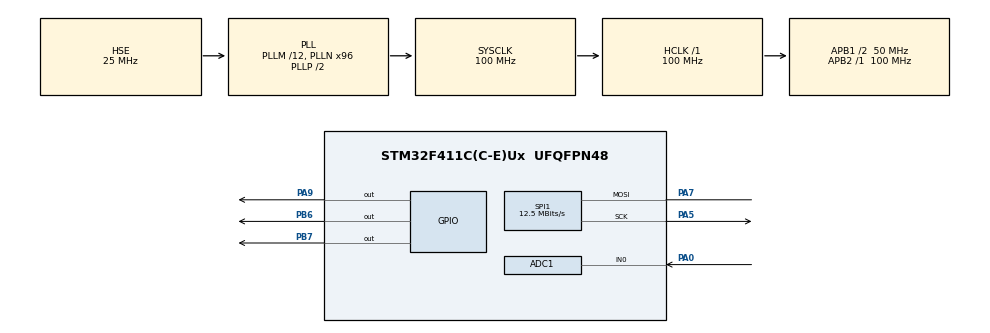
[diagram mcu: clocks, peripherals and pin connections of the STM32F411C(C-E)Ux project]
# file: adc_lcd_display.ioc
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ADC1.Channel-0\#ChannelRegularConversion=ADC_CHANNEL_0
ADC1.DMAContinuousRequests=ENABLE
ADC1.ExternalTrigConv=ADC_EXTERNALTRIGCONV_T2_TRGO
ADC1.InjNumberOfConversion=0
ADC1.NbrOfConversionFlag=1
ADC1.Rank-0\#ChannelRegularConversion=1
ADC1.Resolution=ADC_RESOLUTION_8B
ADC1.SamplingTime-0\#ChannelRegularConversion=ADC_SAMPLETIME_3CYCLES
ADC1.ScanConvMode=ENABLE
ADC1.master=1
Dma.ADC1.0.Direction=DMA_PERIPH_TO_MEMORY
Dma.ADC1.0.FIFOMode=DMA_FIFOMODE_DISABLE
Dma.ADC1.0.Instance=DMA2_Stream0
Dma.ADC1.0.MemDataAlignment=DMA_MDATAALIGN_BYTE
Dma.ADC1.0.MemInc=DMA_MINC_ENABLE
Dma.ADC1.0.Mode=DMA_CIRCULAR
Dma.ADC1.0.PeriphDataAlignment=DMA_PDATAALIGN_BYTE
Dma.ADC1.0.PeriphInc=DMA_PINC_DISABLE
Dma.ADC1.0.Priority=DMA_PRIORITY_LOW
Dma.Request0=ADC1
Mcu.Family=STM32F4
Mcu.Name=STM32F411C(C-E)Ux
Mcu.Package=UFQFPN48
NVIC.DMA2_Stream0_IRQn=true\:0\:0\:false\:false\:true\:false\:true\:true
NVIC.PriorityGroup=NVIC_PRIORITYGROUP_4
PA0-WKUP.Signal=ADCx_IN0
PA13.Mode=Serial_Wire
PA13.Signal=SYS_JTMS-SWDIO
PA14.Mode=Serial_Wire
PA14.Signal=SYS_JTCK-SWCLK
PA5.Mode=Simplex_Bidirectional_Master
PA5.Signal=SPI1_SCK
PA7.Mode=Simplex_Bidirectional_Master
PA7.Signal=SPI1_MOSI
PA9.Signal=GPIO_Output
PB6.Signal=GPIO_Output
PB7.Signal=GPIO_Output
PH0\ -\ OSC_IN.Mode=HSE-External-Oscillator
PH0\ -\ OSC_IN.Signal=RCC_OSC_IN
PH1\ -\ OSC_OUT.Mode=HSE-External-Oscillator
PH1\ -\ OSC_OUT.Signal=RCC_OSC_OUT
ProjectManager.HeapSize=0x200
ProjectManager.StackSize=0x400
ProjectManager.TargetToolchain=MDK-ARM V5
RCC.48MHZClocksFreq_Value=50000000
RCC.AHBFreq_Value=100000000
RCC.APB1CLKDivider=RCC_HCLK_DIV2
RCC.APB1Freq_Value=50000000
RCC.APB1TimFreq_Value=100000000
RCC.APB2Freq_Value=100000000
RCC.APB2TimFreq_Value=100000000
RCC.CortexFreq_Value=100000000
RCC.HCLKFreq_Value=100000000
RCC.HSE_VALUE=25000000
RCC.HSI_VALUE=16000000
RCC.LSE_VALUE=32768
RCC.PLLM=12
RCC.PLLN=96
RCC.PLLSourceVirtual=RCC_PLLSOURCE_HSE
RCC.SYSCLKFreq_VALUE=100000000
RCC.SYSCLKSource=RCC_SYSCLKSOURCE_PLLCLK
RCC.VCOOutputFreq_Value=200000000
SH.ADCx_IN0.0=ADC1_IN0,IN0
SPI1.BaudRatePrescaler=SPI_BAUDRATEPRESCALER_8
SPI1.CalculateBaudRate=12.5 MBits/s
SPI1.Direction=SPI_DIRECTION_1LINE
SPI1.Mode=SPI_MODE_MASTER
SPI1.VirtualType=VM_MASTER
TIM2.Channel-Output\ Compare4\ No\ Output=TIM_CHANNEL_4
TIM2.Period=999
TIM2.Prescaler=0
TIM2.TIM_MasterOutputTrigger=TIM_TRGO_UPDATE
VP_TIM2_VS_ClockSourceINT.Mode=Internal
VP_TIM2_VS_no_output4.Mode=Output Compare4 No Output
board=custom

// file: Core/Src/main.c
/* USER CODE BEGIN Header */
/**
  ******************************************************************************
  * @file           : main.c
  * @brief          : Main program body
  ******************************************************************************
  * @attention
  *
  * Copyright (c) 2022 STMicroelectronics.
  * All rights reserved.
  *
  * This software is licensed under terms that can be found in the LICENSE file
  * in the root directory of this software component.
  * If no LICENSE file comes with this software, it is provided AS-IS.
  *
  ******************************************************************************
  */
/* USER CODE END Header */
#include "main.h"

/* USER CODE BEGIN Includes */
#include "st7735.h"
#include "fonts.h"
/* USER CODE END Includes */

ADC_HandleTypeDef hadc1;
DMA_HandleTypeDef hdma_adc1;

SPI_HandleTypeDef hspi1;

TIM_HandleTypeDef htim2;

void SystemClock_Config(void);
static void MX_GPIO_Init(void);
static void MX_DMA_Init(void);
static void MX_ADC1_Init(void);
static void MX_TIM2_Init(void);
static void MX_SPI1_Init(void);

/* USER CODE BEGIN 0 */
uint32_t value ;
uint16_t Max ;
uint8_t axeX = 0 ;
uint8_t axeY = 0;
uint8_t Yold = 0 ;
uint16_t adc_store[400];
uint16_t axe_store[400];
uint16_t i = 0;
uint16_t t = 0;
uint16_t n = 0;
uint16_t trggr = 80;
uint16_t tr_point ;

void draw_grid(void ) {
	for (uint8_t x = 0 ; x < 110 ; x++){
		   for (uint8_t y = 21 ; y<160 ; y+=21){
			ST7735_DrawPixel( y  , x , 0xFCE0);
	     } }
	for (uint8_t x = 0 ; x < 159 ; x++){
			ST7735_DrawPixel( x  , 25 , 0xFCE0);

	     }
}
/* USER CODE END 0 */

int main(void)
{

  /* MCU Configuration--------------------------------------------------------*/

  /* Reset of all peripherals, Initializes the Flash interface and the Systick. */
  HAL_Init();

  /* Configure the system clock */
  SystemClock_Config();

  /* Initialize all configured peripherals */
  MX_GPIO_Init();
  MX_DMA_Init();
  MX_ADC1_Init();
  MX_TIM2_Init();
  MX_SPI1_Init();
  /* USER CODE BEGIN 2 */
ST7735_Init();

HAL_ADC_Start_DMA(&hadc1 , &value , 1 );
HAL_TIM_Base_Start_IT(&htim2);
HAL_TIM_PWM_Start(&htim2 , TIM_CHANNEL_4);
ST7735_FillScreen(ST7735_BLACK);
ST7735_FillRectangle(0,110,160,18, ST7735_CYAN);
  /* USER CODE END 2 */

  /* Infinite loop */
  while (1)
  {

    /* USER CODE BEGIN 3 */
     for ( t = 0 ; t < 400 ; t++) {
		     axe_store[t] = adc_store[t] ;  // move all buffer to axe
		 }
		 t = 1 ;
		while ((axe_store[t-1] < trggr)||(axe_store[t] >= trggr)) t++ ;

		tr_point = t ;
		//draw the trace
	 t = tr_point ;
	 for ( axeX = 0 ; axeX <160 ; axeX++ ) {
		 axeY = 110 - axe_store [t] * 110 / 255 ;
	  ST7735_DrawPixel( axeX  , axeY  , ST7735_WHITE);
		     if(((axeY - Yold ) < 0 )&&( axeX!=0 )&&( axeX!=159)) {
					 for (n = axeY ; n < Yold ; n++) ST7735_DrawPixel( axeX  , n  , ST7735_WHITE);
				 }
	  else if(((axeY - Yold ) >=2 )&&( axeX!=0 )&&( axeX!=159)) {
					 for (n = Yold ; n < axeY ; n++) ST7735_DrawPixel( axeX  , n  , ST7735_WHITE);
				 }
		Yold = axeY ;
	  t++ ;
		 }
	   HAL_Delay(250);
		//erase the trace
		 t = tr_point ;
		 for ( axeX = 0 ; axeX <160 ; axeX++ ) {
		 axeY = 110 - axe_store [t] * 110 / 255 ;
	  ST7735_DrawPixel( axeX  , axeY  , ST7735_BLACK);
			    if(((axeY - Yold ) < 0 )&&(axeX!=0 )&&( axeX!=159)) {
					 for (n = axeY ; n < Yold ; n++) ST7735_DrawPixel( axeX  , n  , ST7735_BLACK);
				 }
		 else if(((axeY - Yold ) >=2 )&&( axeX!=0 )&&( axeX!=159)) {
					 for (n = Yold ; n < axeY ; n++) ST7735_DrawPixel( axeX  , n  , ST7735_BLACK);
				 }
			Yold = axeY ;
	    t++ ;
		 }
draw_grid () ;
		        t = 0 ;
            i = 0 ;
		 //draw grid

}
  /* USER CODE END 3 */
}

void SystemClock_Config(void)
{
  RCC_OscInitTypeDef RCC_OscInitStruct = {0};
  RCC_ClkInitTypeDef RCC_ClkInitStruct = {0};

  /** Configure the main internal regulator output voltage
  */
  __HAL_RCC_PWR_CLK_ENABLE();
  __HAL_PWR_VOLTAGESCALING_CONFIG(PWR_REGULATOR_VOLTAGE_SCALE1);

  /** Initializes the RCC Oscillators according to the specified parameters
  * in the RCC_OscInitTypeDef structure.
  */
  RCC_OscInitStruct.OscillatorType = RCC_OSCILLATORTYPE_HSE;
  RCC_OscInitStruct.HSEState = RCC_HSE_ON;
  RCC_OscInitStruct.PLL.PLLState = RCC_PLL_ON;
  RCC_OscInitStruct.PLL.PLLSource = RCC_PLLSOURCE_HSE;
  RCC_OscInitStruct.PLL.PLLM = 12;
  RCC_OscInitStruct.PLL.PLLN = 96;
  RCC_OscInitStruct.PLL.PLLP = RCC_PLLP_DIV2;
  RCC_OscInitStruct.PLL.PLLQ = 4;
  if (HAL_RCC_OscConfig(&RCC_OscInitStruct) != HAL_OK)
  {
    Error_Handler();
  }

  /** Initializes the CPU, AHB and APB buses clocks
  */
  RCC_ClkInitStruct.ClockType = RCC_CLOCKTYPE_HCLK|RCC_CLOCKTYPE_SYSCLK
                              |RCC_CLOCKTYPE_PCLK1|RCC_CLOCKTYPE_PCLK2;
  RCC_ClkInitStruct.SYSCLKSource = RCC_SYSCLKSOURCE_PLLCLK;
  RCC_ClkInitStruct.AHBCLKDivider = RCC_SYSCLK_DIV1;
  RCC_ClkInitStruct.APB1CLKDivider = RCC_HCLK_DIV2;
  RCC_ClkInitStruct.APB2CLKDivider = RCC_HCLK_DIV1;

  if (HAL_RCC_ClockConfig(&RCC_ClkInitStruct, FLASH_LATENCY_3) != HAL_OK)
  {
    Error_Handler();
  }
}

static void MX_ADC1_Init(void)
{

  ADC_ChannelConfTypeDef sConfig = {0};

  /** Configure the global features of the ADC (Clock, Resolution, Data Alignment and number of conversion)
  */
  hadc1.Instance = ADC1;
  hadc1.Init.ClockPrescaler = ADC_CLOCK_SYNC_PCLK_DIV4;
  hadc1.Init.Resolution = ADC_RESOLUTION_8B;
  hadc1.Init.ScanConvMode = ENABLE;
  hadc1.Init.ContinuousConvMode = DISABLE;
  hadc1.Init.DiscontinuousConvMode = DISABLE;
  hadc1.Init.ExternalTrigConvEdge = ADC_EXTERNALTRIGCONVEDGE_RISING;
  hadc1.Init.ExternalTrigConv = ADC_EXTERNALTRIGCONV_T2_TRGO;
  hadc1.Init.DataAlign = ADC_DATAALIGN_RIGHT;
  hadc1.Init.NbrOfConversion = 1;
  hadc1.Init.DMAContinuousRequests = ENABLE;
  hadc1.Init.EOCSelection = ADC_EOC_SINGLE_CONV;
  if (HAL_ADC_Init(&hadc1) != HAL_OK)
  {
    Error_Handler();
  }

  /** Configure for the selected ADC regular channel its corresponding rank in the sequencer and its sample time.
  */
  sConfig.Channel = ADC_CHANNEL_0;
  sConfig.Rank = 1;
  sConfig.SamplingTime = ADC_SAMPLETIME_3CYCLES;
  if (HAL_ADC_ConfigChannel(&hadc1, &sConfig) != HAL_OK)
  {
    Error_Handler();
  }

}

static void MX_SPI1_Init(void)
{

  /* SPI1 parameter configuration*/
  hspi1.Instance = SPI1;
  hspi1.Init.Mode = SPI_MODE_MASTER;
  hspi1.Init.Direction = SPI_DIRECTION_1LINE;
  hspi1.Init.DataSize = SPI_DATASIZE_8BIT;
  hspi1.Init.CLKPolarity = SPI_POLARITY_LOW;
  hspi1.Init.CLKPhase = SPI_PHASE_1EDGE;
  hspi1.Init.NSS = SPI_NSS_SOFT;
  hspi1.Init.BaudRatePrescaler = SPI_BAUDRATEPRESCALER_8;
  hspi1.Init.FirstBit = SPI_FIRSTBIT_MSB;
  hspi1.Init.TIMode = SPI_TIMODE_DISABLE;
  hspi1.Init.CRCCalculation = SPI_CRCCALCULATION_DISABLE;
  hspi1.Init.CRCPolynomial = 10;
  if (HAL_SPI_Init(&hspi1) != HAL_OK)
  {
    Error_Handler();
  }

}

static void MX_TIM2_Init(void)
{

  TIM_ClockConfigTypeDef sClockSourceConfig = {0};
  TIM_MasterConfigTypeDef sMasterConfig = {0};
  TIM_OC_InitTypeDef sConfigOC = {0};

  htim2.Instance = TIM2;
  htim2.Init.Prescaler = 0;
  htim2.Init.CounterMode = TIM_COUNTERMODE_UP;
  htim2.Init.Period = 999;
  htim2.Init.ClockDivision = TIM_CLOCKDIVISION_DIV1;
  htim2.Init.AutoReloadPreload = TIM_AUTORELOAD_PRELOAD_DISABLE;
  if (HAL_TIM_Base_Init(&htim2) != HAL_OK)
  {
    Error_Handler();
  }
  sClockSourceConfig.ClockSource = TIM_CLOCKSOURCE_INTERNAL;
  if (HAL_TIM_ConfigClockSource(&htim2, &sClockSourceConfig) != HAL_OK)
  {
    Error_Handler();
  }
  if (HAL_TIM_OC_Init(&htim2) != HAL_OK)
  {
    Error_Handler();
  }
  sMasterConfig.MasterOutputTrigger = TIM_TRGO_UPDATE;
  sMasterConfig.MasterSlaveMode = TIM_MASTERSLAVEMODE_DISABLE;
  if (HAL_TIMEx_MasterConfigSynchronization(&htim2, &sMasterConfig) != HAL_OK)
  {
    Error_Handler();
  }
  sConfigOC.OCMode = TIM_OCMODE_TIMING;
  sConfigOC.Pulse = 0;
  sConfigOC.OCPolarity = TIM_OCPOLARITY_HIGH;
  sConfigOC.OCFastMode = TIM_OCFAST_DISABLE;
  if (HAL_TIM_OC_ConfigChannel(&htim2, &sConfigOC, TIM_CHANNEL_4) != HAL_OK)
  {
    Error_Handler();
  }

}

static void MX_DMA_Init(void)
{

  /* DMA controller clock enable */
  __HAL_RCC_DMA2_CLK_ENABLE();

  /* DMA interrupt init */
  /* DMA2_Stream0_IRQn interrupt configuration */
  HAL_NVIC_SetPriority(DMA2_Stream0_IRQn, 0, 0);
  HAL_NVIC_EnableIRQ(DMA2_Stream0_IRQn);

}

static void MX_GPIO_Init(void)
{
  GPIO_InitTypeDef GPIO_InitStruct = {0};

  /* GPIO Ports Clock Enable */
  __HAL_RCC_GPIOH_CLK_ENABLE();
  __HAL_RCC_GPIOA_CLK_ENABLE();
  __HAL_RCC_GPIOB_CLK_ENABLE();

  /*Configure GPIO pin Output Level */
  HAL_GPIO_WritePin(GPIOA, GPIO_PIN_9, GPIO_PIN_RESET);

  /*Configure GPIO pin Output Level */
  HAL_GPIO_WritePin(GPIOB, GPIO_PIN_6|GPIO_PIN_7, GPIO_PIN_RESET);

  /*Configure GPIO pin : PA9 */
  GPIO_InitStruct.Pin = GPIO_PIN_9;
  GPIO_InitStruct.Mode = GPIO_MODE_OUTPUT_PP;
  GPIO_InitStruct.Pull = GPIO_NOPULL;
  GPIO_InitStruct.Speed = GPIO_SPEED_FREQ_LOW;
  HAL_GPIO_Init(GPIOA, &GPIO_InitStruct);

  /*Configure GPIO pins : PB6 PB7 */
  GPIO_InitStruct.Pin = GPIO_PIN_6|GPIO_PIN_7;
  GPIO_InitStruct.Mode = GPIO_MODE_OUTPUT_PP;
  GPIO_InitStruct.Pull = GPIO_NOPULL;
  GPIO_InitStruct.Speed = GPIO_SPEED_FREQ_LOW;
  HAL_GPIO_Init(GPIOB, &GPIO_InitStruct);

}

/* USER CODE BEGIN 4 */
void HAL_ADC_ConvCpltCallback(ADC_HandleTypeDef* hadc){
  /* This is called after the conversion is completed */

	 if (i < 400) {
			adc_store[i] = value ;
	    i++ ;
	    }

}
/* USER CODE END 4 */

void Error_Handler(void)
{
  __disable_irq();
  while (1)
  {
  }
}
